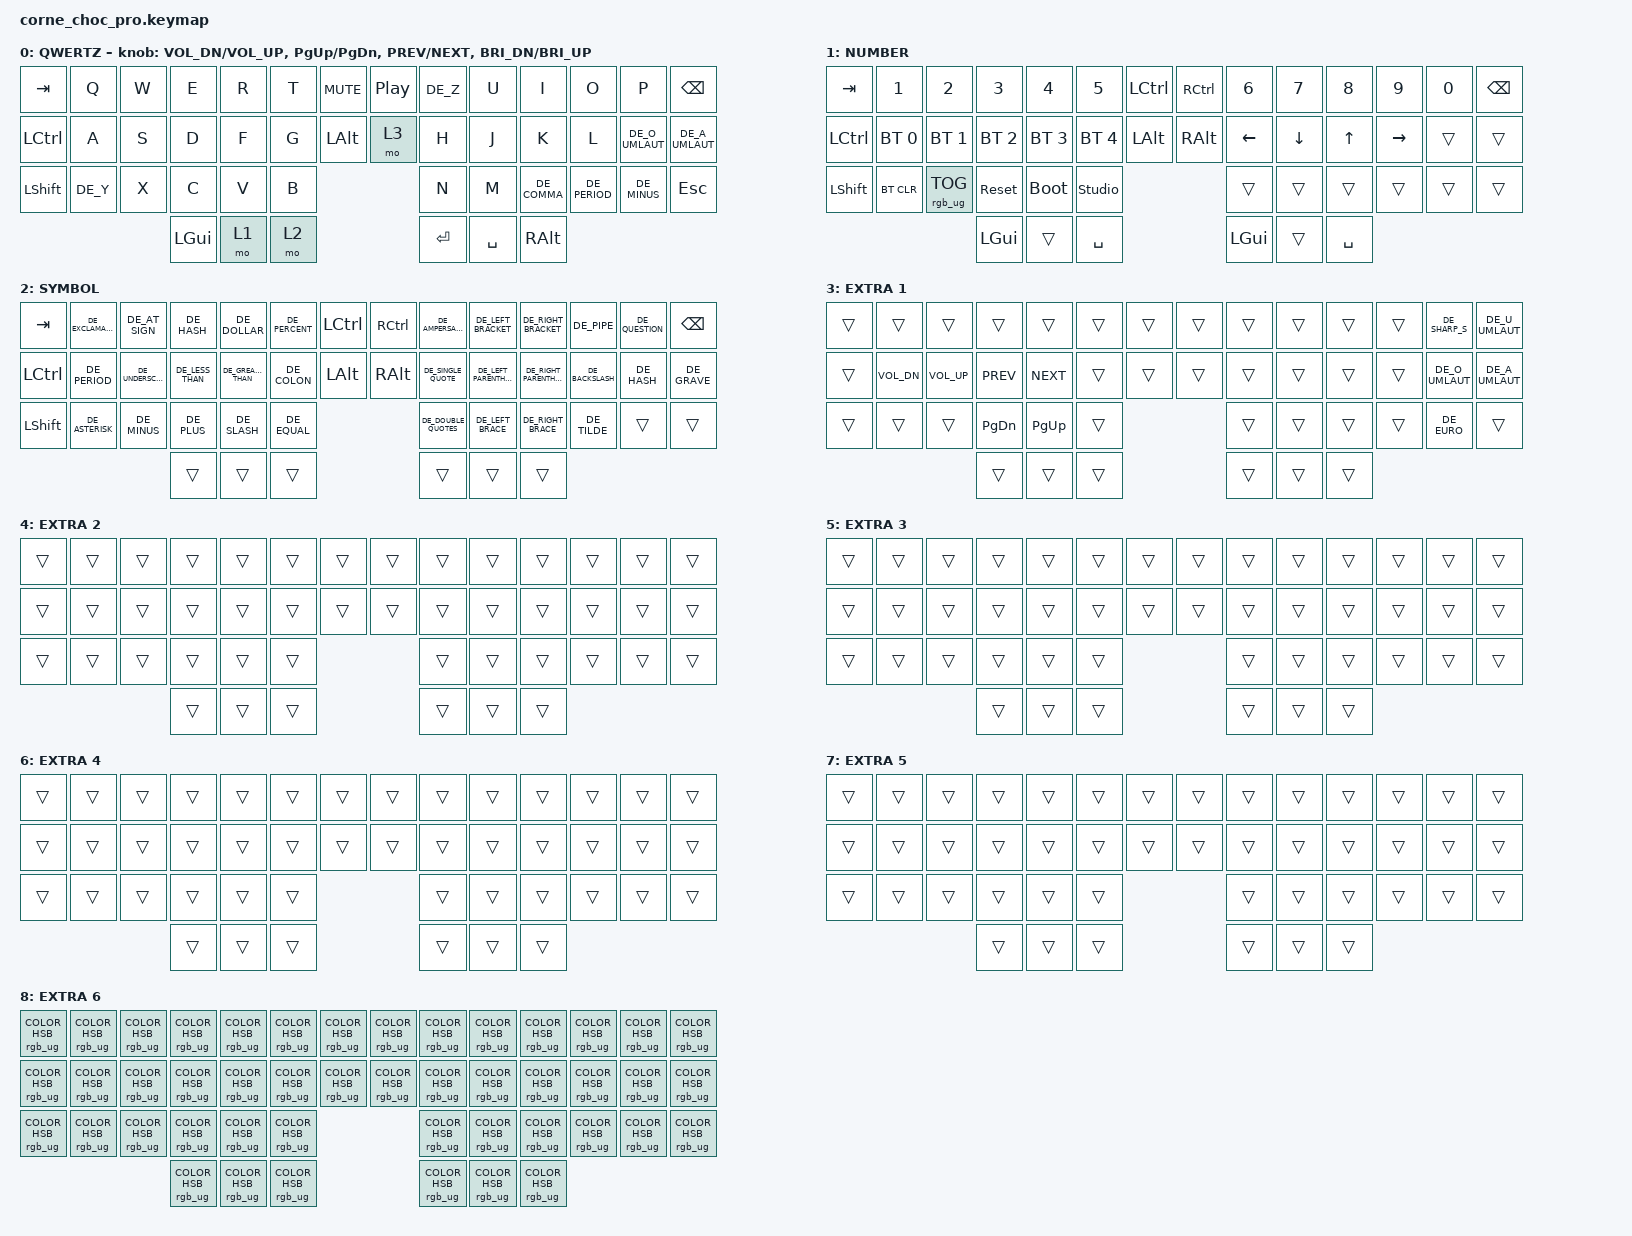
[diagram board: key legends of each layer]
/*
 * Copyright (c) 2020 The ZMK Contributors
 *
 * SPDX-License-Identifier: MIT
 */

#include <behaviors.dtsi>
#include <dt-bindings/zmk/bt.h>
#include <dt-bindings/zmk/keys.h>
#include <dt-bindings/zmk/rgb.h>
#include "keys_de.h"

/ {
    chosen { zmk,physical-layout = &default_layout; };
};

/ {
    keymap {
        compatible = "zmk,keymap";

        default_layer {
            display-name = "QWERTZ";

            // --------------------------------------------------------------------------------
            // |  TAB |  Q  |  W  |  E  |  R  |  T  |  MUTE |  PP   |  Z  |  U   |  I  |  O  |  P  | BSPC |
            // | CTRL |  A  |  S  |  D  |  F  |  G  |  LALT |  RALT |  H  |  J   |  K  |  L  |  Ö  |  Ä   |
            // | SHFT |  Y  |  X  |  C  |  V  |  B  |               |  N  |  M   |  ,  |  .  |  -  | ESC  |
            //                    | GUI | LWR | RSE |               | ENT | SPC  | ALT |

            bindings = <
&kp TAB    &kp Q     &kp W  &kp E     &kp R  &kp T  &kp C_MUTE  &kp C_PP  &kp DE_Z    &kp U      &kp I          &kp O          &kp P            &kp BSPC
&kp LCTRL  &kp A     &kp S  &kp D     &kp F  &kp G  &kp LALT    &mo 3     &kp H       &kp J      &kp K          &kp L          &kp DE_O_UMLAUT  &kp DE_A_UMLAUT
&kp LSHFT  &kp DE_Y  &kp X  &kp C     &kp V  &kp B                        &kp N       &kp M      &kp DE_COMMA   &kp DE_PERIOD  &kp DE_MINUS     &kp ESC
                            &kp LGUI  &mo 1  &mo 2                        &kp RETURN  &kp SPACE  &kp RIGHT_ALT
            >;

            sensor-bindings = <&inc_dec_kp C_VOL_DN C_VOL_UP &inc_dec_kp PG_UP PG_DN &inc_dec_kp C_PREV C_NEXT &inc_dec_kp C_BRI_DN C_BRI_UP>;
        };

        lower_layer {
            display-name = "NUMBER";

            // -----------------------------------------------------------------------------------------
            // |  TAB |  1  |  2  |  3  |  4  |  5    |  LCTRL | RCTRL |  6  |  7  |  8  |  9  |  0  | BSPC |
            // | CTRL | BT1 | BT2 | BT3 | BT4 | BT5   |  LALT  | RALT  | LFT | DWN |  UP | RGT |     |      |
            // | SHFT | BTCR| RGB | RST | BOOT| Unlock|        |       |     |     |     |     |     |      |
            //                    | GUI |     | SPC   |        | ENT   |     | ALT |

            bindings = <
&kp TAB    &kp N1        &kp N2           &kp N3        &kp N4        &kp N5          &kp LCTRL  &kp RCTRL  &kp N6    &kp N7    &kp N8     &kp N9     &kp N0  &kp BSPC
&kp LCTRL  &bt BT_SEL 0  &bt BT_SEL 1     &bt BT_SEL 2  &bt BT_SEL 3  &bt BT_SEL 4    &kp LALT   &kp RALT   &kp LEFT  &kp DOWN  &kp UP     &kp RIGHT  &trans  &trans
&kp LSHFT  &bt BT_CLR    &rgb_ug RGB_TOG  &sys_reset    &bootloader   &studio_unlock                        &trans    &trans    &trans     &trans     &trans  &trans
                                          &kp LGUI      &trans        &kp SPACE                             &kp LGUI  &trans    &kp SPACE
            >;
        };

        raise_layer {
            display-name = "SYMBOL";

            // -----------------------------------------------------------------------------------------
            // |  TAB |  !  |  @  |  #  |  $  |  %  | LCTRL | RCTRL |  &  |  [  |  ]  |  (  |  ?  | BSPC |
            // | CTRL |     |  _  |  <  |  >  |  :  |  LALT | RALT  |  '  |  (  |  )  |  ]  |  \  |  `   |
            // | SHFT |  *  |  -  |  +  |  /  |  =  |               |  "  |  {  |  }  |  }  |  |  |  ~   |
            //                    | GUI |     | SPC |               | ENT |     | ALT |

            bindings = <
&kp TAB    &kp DE_EXCLAMATION  &kp DE_AT_SIGN     &kp DE_HASH       &kp DE_DOLLAR        &kp DE_PERCENT  &kp LCTRL  &kp RCTRL  &kp DE_AMPERSAND      &kp DE_LEFT_BRACKET      &kp DE_RIGHT_BRACKET      &kp DE_PIPE       &kp DE_QUESTION  &kp BSPC
&kp LCTRL  &kp DE_PERIOD       &kp DE_UNDERSCORE  &kp DE_LESS_THAN  &kp DE_GREATER_THAN  &kp DE_COLON    &kp LALT   &kp RALT   &kp DE_SINGLE_QUOTE   &kp DE_LEFT_PARENTHESIS  &kp DE_RIGHT_PARENTHESIS  &kp DE_BACKSLASH  &kp DE_HASH      &kp DE_GRAVE
&kp LSHFT  &kp DE_ASTERISK     &kp DE_MINUS       &kp DE_PLUS       &kp DE_SLASH         &kp DE_EQUAL                          &kp DE_DOUBLE_QUOTES  &kp DE_LEFT_BRACE        &kp DE_RIGHT_BRACE        &kp DE_TILDE      &trans           &trans
                                                  &trans            &trans               &trans                                &trans                &trans                   &trans
            >;
        };

        extra_layer_1 {
            display-name = "EXTRA 1";
            bindings = <
&trans  &trans        &trans           &trans         &trans       &trans  &trans  &trans  &trans  &trans  &trans  &trans  &kp DE_SHARP_S   &kp DE_U_UMLAUT
&trans  &kp C_VOL_DN  &kp C_VOLUME_UP  &kp C_PREV     &kp C_NEXT   &trans  &trans  &trans  &trans  &trans  &trans  &trans  &kp DE_O_UMLAUT  &kp DE_A_UMLAUT
&trans  &trans        &trans           &kp PAGE_DOWN  &kp PAGE_UP  &trans                  &trans  &trans  &trans  &trans  &kp DE_EURO      &trans
                                       &trans         &trans       &trans                  &trans  &trans  &trans
            >;
        };

        extra_layer_2 {
            display-name = "EXTRA 2";
            bindings = <
&trans  &trans  &trans  &trans  &trans  &trans  &trans  &trans  &trans  &trans  &trans  &trans  &trans  &trans
&trans  &trans  &trans  &trans  &trans  &trans  &trans  &trans  &trans  &trans  &trans  &trans  &trans  &trans
&trans  &trans  &trans  &trans  &trans  &trans                  &trans  &trans  &trans  &trans  &trans  &trans
                        &trans  &trans  &trans                  &trans  &trans  &trans
            >;
        };

        extra_layer_3 {
            display-name = "EXTRA 3";
            bindings = <
&trans  &trans  &trans  &trans  &trans  &trans  &trans  &trans  &trans  &trans  &trans  &trans  &trans  &trans
&trans  &trans  &trans  &trans  &trans  &trans  &trans  &trans  &trans  &trans  &trans  &trans  &trans  &trans
&trans  &trans  &trans  &trans  &trans  &trans                  &trans  &trans  &trans  &trans  &trans  &trans
                        &trans  &trans  &trans                  &trans  &trans  &trans
            >;
        };

        extra_layer_4 {
            display-name = "EXTRA 4";
            bindings = <
&trans  &trans  &trans  &trans  &trans  &trans  &trans  &trans  &trans  &trans  &trans  &trans  &trans  &trans
&trans  &trans  &trans  &trans  &trans  &trans  &trans  &trans  &trans  &trans  &trans  &trans  &trans  &trans
&trans  &trans  &trans  &trans  &trans  &trans                  &trans  &trans  &trans  &trans  &trans  &trans
                        &trans  &trans  &trans                  &trans  &trans  &trans
            >;
        };

        extra_layer_5 {
            display-name = "EXTRA 5";
            bindings = <
&trans  &trans  &trans  &trans  &trans  &trans  &trans  &trans  &trans  &trans  &trans  &trans  &trans  &trans
&trans  &trans  &trans  &trans  &trans  &trans  &trans  &trans  &trans  &trans  &trans  &trans  &trans  &trans
&trans  &trans  &trans  &trans  &trans  &trans                  &trans  &trans  &trans  &trans  &trans  &trans
                        &trans  &trans  &trans                  &trans  &trans  &trans
            >;
        };

        colors {
            display-name = "EXTRA 6";
            bindings = <
&rgb_ug RGB_COLOR_HSB(143,100,50)  &rgb_ug RGB_COLOR_HSB(143,100,50)  &rgb_ug RGB_COLOR_HSB(143,100,50)  &rgb_ug RGB_COLOR_HSB(143,100,50)  &rgb_ug RGB_COLOR_HSB(143,100,50)  &rgb_ug RGB_COLOR_HSB(143,100,50)  &rgb_ug RGB_COLOR_HSB(143,100,50)  &rgb_ug RGB_COLOR_HSB(143,100,50)  &rgb_ug RGB_COLOR_HSB(143,100,50)  &rgb_ug RGB_COLOR_HSB(143,100,50)  &rgb_ug RGB_COLOR_HSB(143,100,50)  &rgb_ug RGB_COLOR_HSB(143,100,50)  &rgb_ug RGB_COLOR_HSB(143,100,50)  &rgb_ug RGB_COLOR_HSB(143,100,50)
&rgb_ug RGB_COLOR_HSB(143,100,50)  &rgb_ug RGB_COLOR_HSB(143,100,50)  &rgb_ug RGB_COLOR_HSB(143,100,50)  &rgb_ug RGB_COLOR_HSB(143,100,50)  &rgb_ug RGB_COLOR_HSB(143,100,50)  &rgb_ug RGB_COLOR_HSB(143,100,50)  &rgb_ug RGB_COLOR_HSB(143,100,50)  &rgb_ug RGB_COLOR_HSB(143,100,50)  &rgb_ug RGB_COLOR_HSB(143,100,50)  &rgb_ug RGB_COLOR_HSB(143,100,50)  &rgb_ug RGB_COLOR_HSB(143,100,50)  &rgb_ug RGB_COLOR_HSB(143,100,50)  &rgb_ug RGB_COLOR_HSB(143,100,50)  &rgb_ug RGB_COLOR_HSB(143,100,50)
&rgb_ug RGB_COLOR_HSB(143,100,50)  &rgb_ug RGB_COLOR_HSB(143,100,50)  &rgb_ug RGB_COLOR_HSB(143,100,50)  &rgb_ug RGB_COLOR_HSB(143,100,50)  &rgb_ug RGB_COLOR_HSB(143,100,50)  &rgb_ug RGB_COLOR_HSB(143,100,50)                                                                        &rgb_ug RGB_COLOR_HSB(143,100,50)  &rgb_ug RGB_COLOR_HSB(143,100,50)  &rgb_ug RGB_COLOR_HSB(143,100,50)  &rgb_ug RGB_COLOR_HSB(143,100,50)  &rgb_ug RGB_COLOR_HSB(143,100,50)  &rgb_ug RGB_COLOR_HSB(143,100,50)
                                                                                                         &rgb_ug RGB_COLOR_HSB(143,100,50)  &rgb_ug RGB_COLOR_HSB(143,100,50)  &rgb_ug RGB_COLOR_HSB(143,100,50)                                                                        &rgb_ug RGB_COLOR_HSB(143,100,50)  &rgb_ug RGB_COLOR_HSB(143,100,50)  &rgb_ug RGB_COLOR_HSB(143,100,50)
            >;
        };
    };

    conditional_layers {
        compatible = "zmk,conditional-layers";

        colors {
            if-layers = <0 1 2>;
            then-layer = <8>;
        };
    };
};
